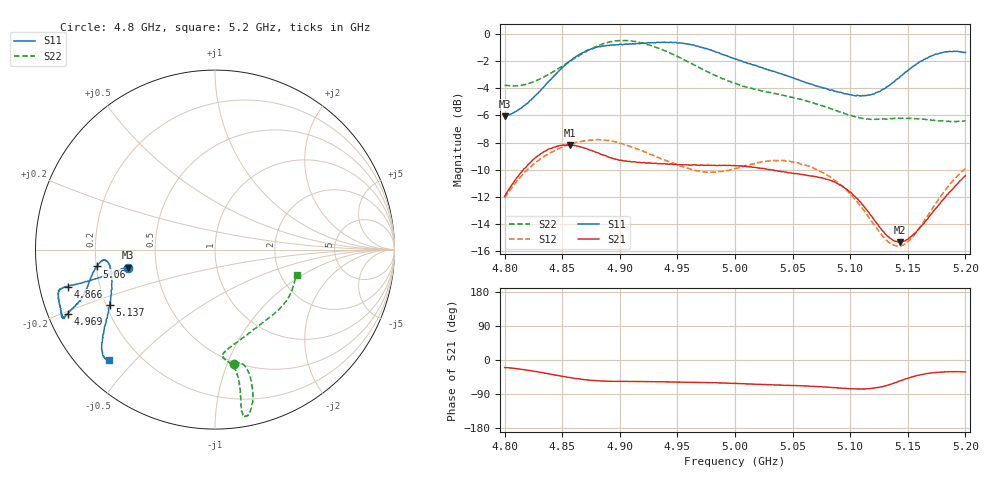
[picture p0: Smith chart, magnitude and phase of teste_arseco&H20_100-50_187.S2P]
! Network Analyzer HP8722D
! Hewlett-Packard
! Data name: Linha & Wilkinson
! Saver's name: Rodrigo Anjos
! Comments: Teste da utilização de aquisição
! continua pelo VNA HP8722D
! Time and date: 6/5/2025 14:07
!  Frequency  S11  S21  S12  S22
# HZ  S  MA R 50
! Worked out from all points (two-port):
!   401 points, 4.8 GHz to 5.2 GHz, reference 50 ohm
!   highest |S21| = -8.17 dB at 4.857 GHz (marker M1); lowest = -15.3 dB at 5.143 GHz (marker M2)
!   |S21| within 3 dB of the highest: 4.806 GHz to 5.092 GHz (286.6 MHz wide, 5.79 % of centre); 5.191332 GHz to end of sweep
!   lowest |S11| = -6.1 dB at 4.8 GHz (marker M3), VSWR 2.98, Z = 16.9 - j4.56 ohm
!   |S11| at or under -10 dB: nowhere
!   |S22| runs from -6.5 to -0.5 dB; largest |S21 - S12| = 0.62
!   S11 on the Smith chart (normalised r, x): 4.8 GHz: 0.34, -0.09; 4.866 GHz: 0.09, -0.12; 4.969 GHz: 0.06, -0.21; 5.06 GHz: 0.20, -0.07; 5.137 GHz: 0.22, -0.24; 5.2 GHz: 0.09, -0.42
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4.8e9  0.4972 -168.2  0.2526 -19.8  0.2493 -141.0  0.6483 -80.4
4.828e9  0.6007 -167.2  0.3538 -30.8  0.3389 -145.0  0.6753 -75.4
4.857e9  0.7964 -166.0  0.3905 -46.5  0.3925 -150.5  0.7931 -74.9
4.866e9  0.8429 -165.9  0.3837 -50.5  0.4018 -152.0  0.8381 -75.3
4.867e9  0.8484 -166.0  0.383 -51.0  0.403 -152.2  0.8428 -75.5
4.88e9  0.8903 -165.5  0.3659 -54.7  0.4083 -154.3  0.9001 -76.8
4.899e9  0.9117 -162.9  0.3436 -56.5  0.3979 -156.8  0.9437 -79.1
4.934e9  0.9305 -156.5  0.3327 -57.5  0.3508 -155.9  0.8827 -80.5
4.969e9  0.8951 -156.5  0.3281 -59.1  0.3126 -147.4  0.7508 -79.7
5e9  0.8098 -159.1  0.3275 -61.9  0.3193 -137.4  0.6571 -81.3
5.034e9  0.7278 -165.2  0.3147 -65.9  0.3425 -134.3  0.6028 -85.6
5.06e9  0.6656 -171.9  0.3029 -68.4  0.33 -136.3  0.5695 -84.4
5.067e9  0.6519 -173.1  0.3 -69.3  0.3225 -136.9  0.5588 -82.6
5.085e9  0.6202 -174.6  0.2864 -72.8  0.293 -138.5  0.5265 -75.8
5.101e9  0.597 -172.1  0.2603 -75.9  0.2549 -138.9  0.5009 -66.4
5.118e9  0.5968 -164.4  0.2152 -75.2  0.2061 -134.5  0.4846 -54.2
5.134e9  0.6457 -154.2  0.1779 -65.2  0.1705 -120.7  0.4874 -43.3
5.137e9  0.662 -152.3  0.1744 -62.2  0.1676 -116.7  0.4876 -41.4
5.143e9  0.6929 -149.2  0.1714 -55.7  0.166 -108.8  0.4888 -38.0
5.154e9  0.7561 -144.5  0.1814 -44.5  0.1791 -94.9  0.4883 -32.3
5.172e9  0.833 -139.2  0.2217 -33.6  0.2301 -81.1  0.4811 -24.6
5.2e9  0.8539 -133.8  0.3008 -31.5  0.3191 -77.1  0.478 -17.5
